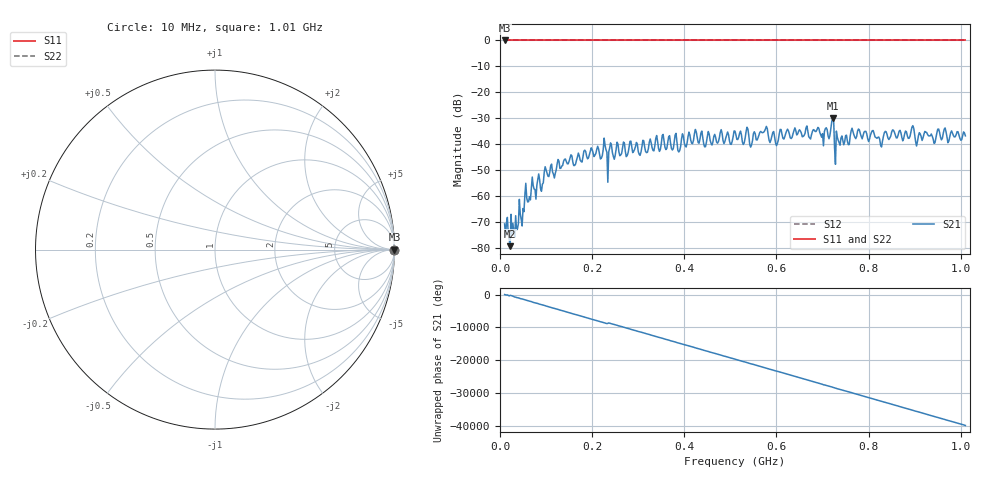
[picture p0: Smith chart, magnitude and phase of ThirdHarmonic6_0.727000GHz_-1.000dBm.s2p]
! 8/16/2025 12:19:33 AM
! C:\ANRITSUVNA\TEMP\TEMP.S2P
! CHANNEL.1
! TR.MEASUREMENT
! RAW.DATA
! RF.CORRECTION.OFF
! AVERAGING.OFF
! IF.BANDWIDTH: 5KHZ
! SWEEPTYPE:  FREQ.SWEEP(Linear)
! Reference Plane Port Info
! PORT:  PORT1  PORT2
! DISTANCE:  0  m  0  m
! TIME:  0  s  0  s
! PHASE.OFFSET:  0  deg.  0  deg.
! LOSS:  0  dB  0  dB
! REF.LOSS:  0  dB  0  dB
! REF.FREQ:  0  Hz  0  Hz
! Power Info
! POWER:  -20  dBm  -20  dBm
! EFF.POWER:  -20  dBm  -20  dBm
! SOURCE.ATTEN:  0  dB  0  dB
! TEST.ATTEN:  0  dB  0  dB
# GHZ S RI R 50.0
! FREQ.GHZ  S11RE  S11IM  S21RE  S21IM  S12RE  S12IM  S22RE  S22IM
!; PortSelection: Port_12
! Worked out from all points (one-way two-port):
!   501 points, 10 MHz to 1.01 GHz, reference 50 ohm
!   highest |S21| = -30.00 dB at 722 MHz (marker M1); lowest = -79.1 dB at 22 MHz (marker M2)
!   lowest |S11| = 0.0 dB at 10 MHz (marker M3)
!   |S11| at or under -10 dB: nowhere
!   |S22| runs from 0.0 to 0.0 dB; largest |S21 - S12| = 1
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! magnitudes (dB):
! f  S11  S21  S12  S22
! 10 MHz  0.0  -70.6  0.0  0.0
! 22 MHz  0.0  -79.1  0.0  0.0
! 48 MHz  0.0  -71.4  0.0  0.0
! 58 MHz  0.0  -60.6  0.0  0.0
! 90 MHz  0.0  -58.0  0.0  0.0
! 100 MHz  0.0  -49.8  0.0  0.0
! 178 MHz  0.0  -46.8  0.0  0.0
! 228 MHz  0.0  -40.4  0.0  0.0
! 234 MHz  0.0  -54.6  0.0  0.0
! 344 MHz  0.0  -41.5  0.0  0.0
! 510 MHz  0.0  -34.9  0.0  0.0
! 536 MHz  0.0  -33.4  0.0  0.0
! 544 MHz  0.0  -41.0  0.0  0.0
! 576 MHz  0.0  -34.1  0.0  0.0
! 600 MHz  0.0  -40.5  0.0  0.0
! 610 MHz  0.0  -34.3  0.0  0.0
! 678 MHz  0.0  -35.0  0.0  0.0
! 722 MHz  0.0  -30.0  0.0  0.0
! 730 MHz  0.0  -34.9  0.0  0.0
! 764 MHz  0.0  -33.8  0.0  0.0
! 844 MHz  0.0  -38.1  0.0  0.0
! 1.01 GHz  0.0  -36.7  0.0  0.0
